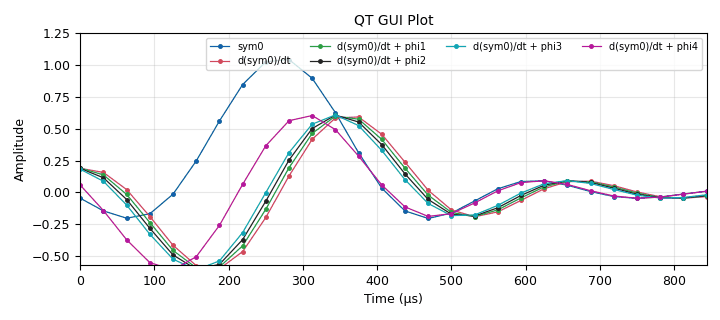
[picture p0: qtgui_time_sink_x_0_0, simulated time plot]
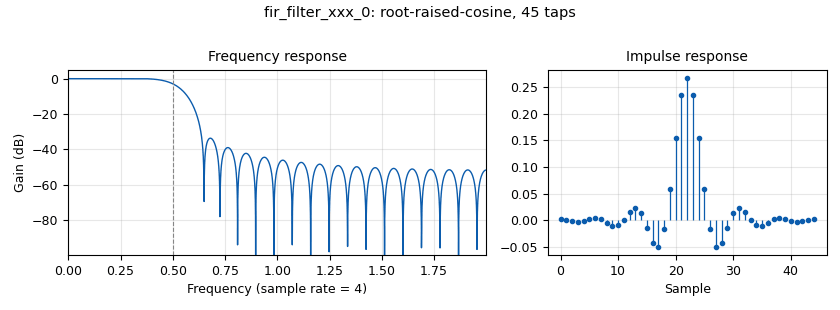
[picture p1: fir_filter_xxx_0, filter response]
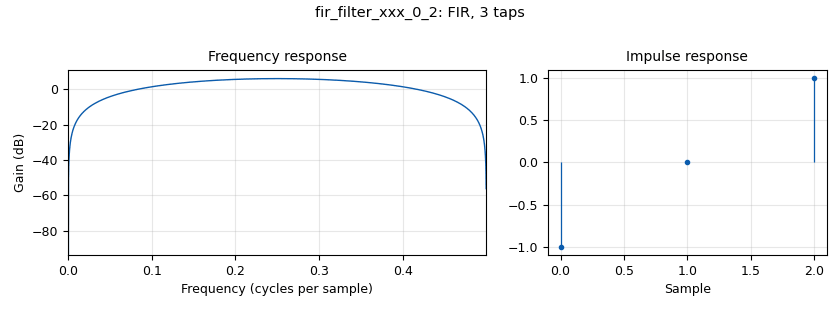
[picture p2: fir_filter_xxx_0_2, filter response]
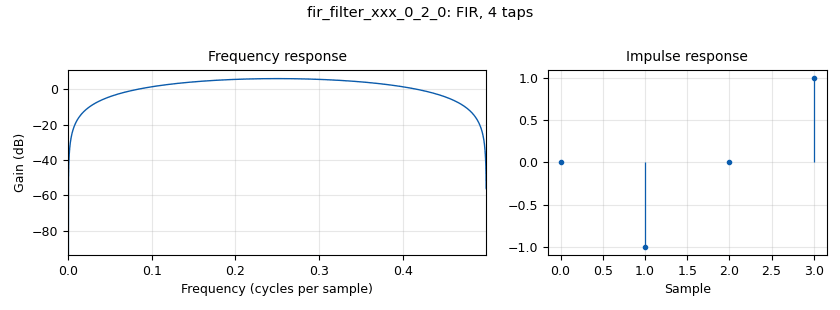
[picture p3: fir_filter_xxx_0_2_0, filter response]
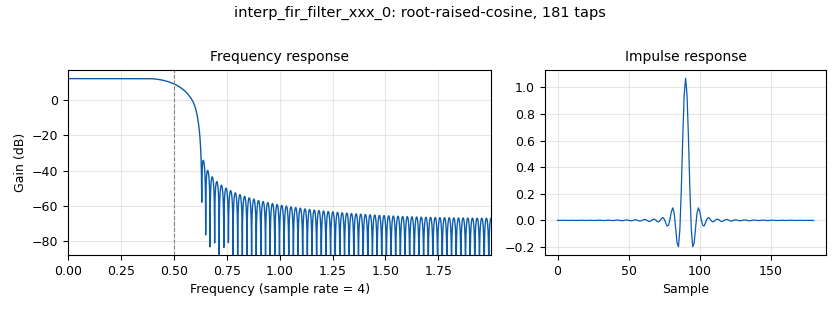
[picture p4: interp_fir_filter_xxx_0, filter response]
options:
  parameters:
    category: Custom
    generate_options: qt_gui
    id: symbol_differential_filter_phases
    output_language: python
  states: {}

blocks:
- name: eb
  id: variable
  parameters:
    value: '0.25'
  states: {}
- name: ntaps
  id: variable
  parameters:
    value: '45'
  states: {}
- name: rate
  id: variable
  parameters:
    value: '1.2'
  states: {}
- name: rrc_rx
  id: variable
  parameters:
    value: firdes.root_raised_cosine(1.0, sps, 1, eb, ntaps)
  states: {}
- name: rrc_tx
  id: variable
  parameters:
    value: firdes.root_raised_cosine(sps, sps, 1, eb, sps*ntaps)
  states: {}
- name: samp_rate
  id: variable
  parameters:
    value: '32000'
  states: {}
- name: sps
  id: variable
  parameters:
    value: '4'
  states: {}
- name: blocks_delay_0_0
  id: blocks_delay
  parameters:
    delay: '0'
    type: float
  states: {}
- name: blocks_delay_0_0_0
  id: blocks_delay
  parameters:
    delay: '1'
    type: float
  states: {}
- name: blocks_delay_0_0_1
  id: blocks_delay
  parameters:
    delay: '1'
    type: float
  states: {}
- name: blocks_delay_0_0_2
  id: blocks_delay
  parameters:
    delay: '1'
    type: float
  states: {}
- name: blocks_delay_0_0_3
  id: blocks_delay
  parameters:
    delay: '1'
    type: float
  states: {}
- name: blocks_delay_0_0_4
  id: blocks_delay
  parameters:
    delay: '1'
    type: float
  states: {}
- name: blocks_throttle_0
  id: blocks_throttle
  parameters:
    samples_per_second: samp_rate
    type: float
  states: {}
- name: blocks_vector_source_x_0
  id: blocks_vector_source_x
  parameters:
    repeat: 'True'
    type: float
    vector: 49*[0,] + [1,] + 50*[0,]
  states: {}
- name: fir_filter_xxx_0
  id: fir_filter_xxx
  parameters:
    decim: '1'
    taps: rrc_rx
    type: fff
  states: {}
- name: fir_filter_xxx_0_2
  id: fir_filter_xxx
  parameters:
    decim: '1'
    taps: '[-1, 0, 1]'
    type: fff
  states: {}
- name: fir_filter_xxx_0_2_0
  id: fir_filter_xxx
  parameters:
    decim: '1'
    taps: '[0,-1, 0, 1]'
    type: fff
  states: {}
- name: fir_filter_xxx_0_2_0_0
  id: fir_filter_xxx
  parameters:
    decim: '1'
    taps: '[0,-1, 0, 1]'
    type: fff
  states: {}
- name: fir_filter_xxx_0_2_0_1
  id: fir_filter_xxx
  parameters:
    decim: '1'
    taps: '[0,-1, 0, 1]'
    type: fff
  states: {}
- name: fir_filter_xxx_0_2_0_1_0
  id: fir_filter_xxx
  parameters:
    decim: '1'
    taps: '[0,-1, 0, 1]'
    type: fff
  states: {}
- name: import_math
  id: import
  parameters:
    imports: import math
  states: {}
- name: interp_fir_filter_xxx_0
  id: interp_fir_filter_xxx
  parameters:
    interp: sps
    taps: rrc_tx
    type: fff
  states: {}
- name: mmse_resampler_xx_0
  id: mmse_resampler_xx
  parameters:
    phase_shift: '0'
    resamp_ratio: '1'
    type: float
  states: {}
- name: mmse_resampler_xx_0_0
  id: mmse_resampler_xx
  parameters:
    phase_shift: '.2'
    resamp_ratio: '1'
    type: float
  states: {}
- name: mmse_resampler_xx_0_0_0
  id: mmse_resampler_xx
  parameters:
    phase_shift: '.4'
    resamp_ratio: '1'
    type: float
  states: {}
- name: mmse_resampler_xx_0_0_0_0
  id: mmse_resampler_xx
  parameters:
    phase_shift: '.6'
    resamp_ratio: '1'
    type: float
  states: {}
- name: mmse_resampler_xx_0_0_0_1
  id: mmse_resampler_xx
  parameters:
    phase_shift: '.8'
    resamp_ratio: '1'
    type: float
  states: {}
- name: pfb_arb_resampler_xxx_0_0_1
  id: pfb_arb_resampler_xxx
  parameters:
    atten: '100'
    nfilts: '32'
    rrate: rate
    type: fff
  states: {}
- name: qtgui_time_sink_x_0_0
  id: qtgui_time_sink_x
  parameters:
    gui_hint: 0,1,1,1
    label1: sym0
    label2: d(sym0)/dt
    label3: d(sym0)/dt + phi1
    label4: d(sym0)/dt + phi2
    label5: d(sym0)/dt + phi3
    label6: d(sym0)/dt + phi4
    marker1: '0'
    marker2: '0'
    marker3: '0'
    marker4: '0'
    marker5: '0'
    marker6: '0'
    name: QT GUI Plot
    nconnections: '6'
    size: 7*sps
    srate: samp_rate
    tr_delay: 0.00005*sps
    tr_level: '0.8'
    tr_mode: qtgui.TRIG_MODE_NORM
    type: float
    update_time: '0.01'
    width1: '2'
    width2: '2'
    width3: '2'
    width4: '2'
    width5: '2'
    width6: '2'
    ymax: '1.25'
    ymin: '-0.5'
  states: {}

connections:
- [blocks_delay_0_0, '0', qtgui_time_sink_x_0_0, '0']
- [blocks_delay_0_0_0, '0', qtgui_time_sink_x_0_0, '1']
- [blocks_delay_0_0_1, '0', qtgui_time_sink_x_0_0, '2']
- [blocks_delay_0_0_2, '0', qtgui_time_sink_x_0_0, '3']
- [blocks_delay_0_0_3, '0', qtgui_time_sink_x_0_0, '4']
- [blocks_delay_0_0_4, '0', qtgui_time_sink_x_0_0, '5']
- [blocks_throttle_0, '0', interp_fir_filter_xxx_0, '0']
- [blocks_vector_source_x_0, '0', blocks_throttle_0, '0']
- [fir_filter_xxx_0, '0', blocks_delay_0_0, '0']
- [fir_filter_xxx_0, '0', mmse_resampler_xx_0, '0']
- [fir_filter_xxx_0, '0', mmse_resampler_xx_0_0, '0']
- [fir_filter_xxx_0, '0', mmse_resampler_xx_0_0_0, '0']
- [fir_filter_xxx_0, '0', mmse_resampler_xx_0_0_0_0, '0']
- [fir_filter_xxx_0, '0', mmse_resampler_xx_0_0_0_1, '0']
- [fir_filter_xxx_0_2, '0', blocks_delay_0_0_4, '0']
- [fir_filter_xxx_0_2_0, '0', blocks_delay_0_0_3, '0']
- [fir_filter_xxx_0_2_0_0, '0', blocks_delay_0_0_2, '0']
- [fir_filter_xxx_0_2_0_1, '0', blocks_delay_0_0_1, '0']
- [fir_filter_xxx_0_2_0_1_0, '0', blocks_delay_0_0_0, '0']
- [interp_fir_filter_xxx_0, '0', pfb_arb_resampler_xxx_0_0_1, '0']
- [mmse_resampler_xx_0, '0', fir_filter_xxx_0_2_0_1_0, '0']
- [mmse_resampler_xx_0_0, '0', fir_filter_xxx_0_2_0_1, '0']
- [mmse_resampler_xx_0_0_0, '0', fir_filter_xxx_0_2_0_0, '0']
- [mmse_resampler_xx_0_0_0_0, '0', fir_filter_xxx_0_2_0, '0']
- [mmse_resampler_xx_0_0_0_1, '0', fir_filter_xxx_0_2, '0']
- [pfb_arb_resampler_xxx_0_0_1, '0', fir_filter_xxx_0, '0']

metadata:
  file_format: 1
  grc_version: 3.10.5.0
